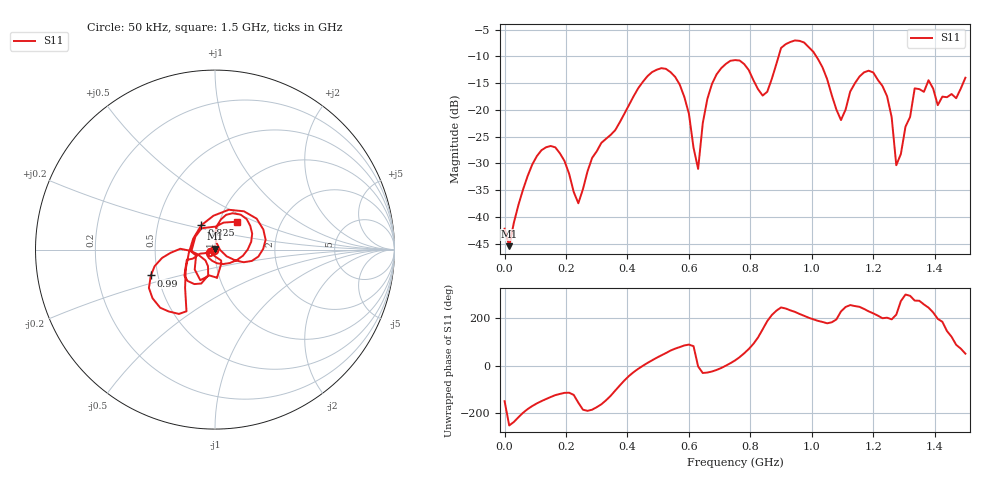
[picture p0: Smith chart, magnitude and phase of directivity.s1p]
! Created with skrf 1.8.0 (http://scikit-rf.org).
# Hz S RI R 50.0
!freq ReS11 ImS11
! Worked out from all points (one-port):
!   101 points, 50 kHz to 1.5 GHz, reference 50 ohm
!   lowest |S11| = -45.5 dB at 15.05 MHz (marker M1), VSWR 1.01, Z = 49.8 + j0.498 ohm
!   |S11| at or under -10 dB: start of sweep to 892 MHz; 1.014 GHz to end of sweep
!   S11 on the Smith chart (normalised r, x): 50 kHz: 0.99, -0.01; 825 MHz: 0.83, +0.23; 990 MHz: 0.46, -0.15; 1.5 GHz: 1.22, +0.39
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50000  -0.00658 -0.00407
1.50495e7  -0.0018 0.005
1.050465e8  -0.0341 -0.0141
1.950435e8  -0.0131 -0.0305
2.40042e8  -0.0121 -0.00573
2.850405e8  -0.0355 0.00244
3.750375e8  0.0104 -0.0758
4.80034e8  0.2072 0.0886
5.70031e8  0.0337 0.169
6.30029e8  0.028 -0.0013
6.450285e8  0.0648 -0.0374
6.750275e8  0.1597 -0.0704
7.50025e8  0.2692 0.1121
8.250225e8  -0.0761 0.1359
8.550215e8  -0.1461 -0.0201
9.0002e8  -0.1589 -0.3436
9.450185e8  -0.3057 -0.3235
9.90017e8  -0.3575 -0.1438
1.095014e9  -0.0533 -0.0599
1.125012e9  -0.038 -0.143
1.18501e9  -0.1526 -0.1748
1.230009e9  -0.157 -0.0571
1.260008e9  -0.0823 -0.0224
1.275008e9  -0.0249 -0.0173
1.320006e9  0.035 -0.0783
1.335006e9  0.011 -0.1584
1.425002e9  -0.1323 -0.0116
1.5e9  0.1248 0.1556
